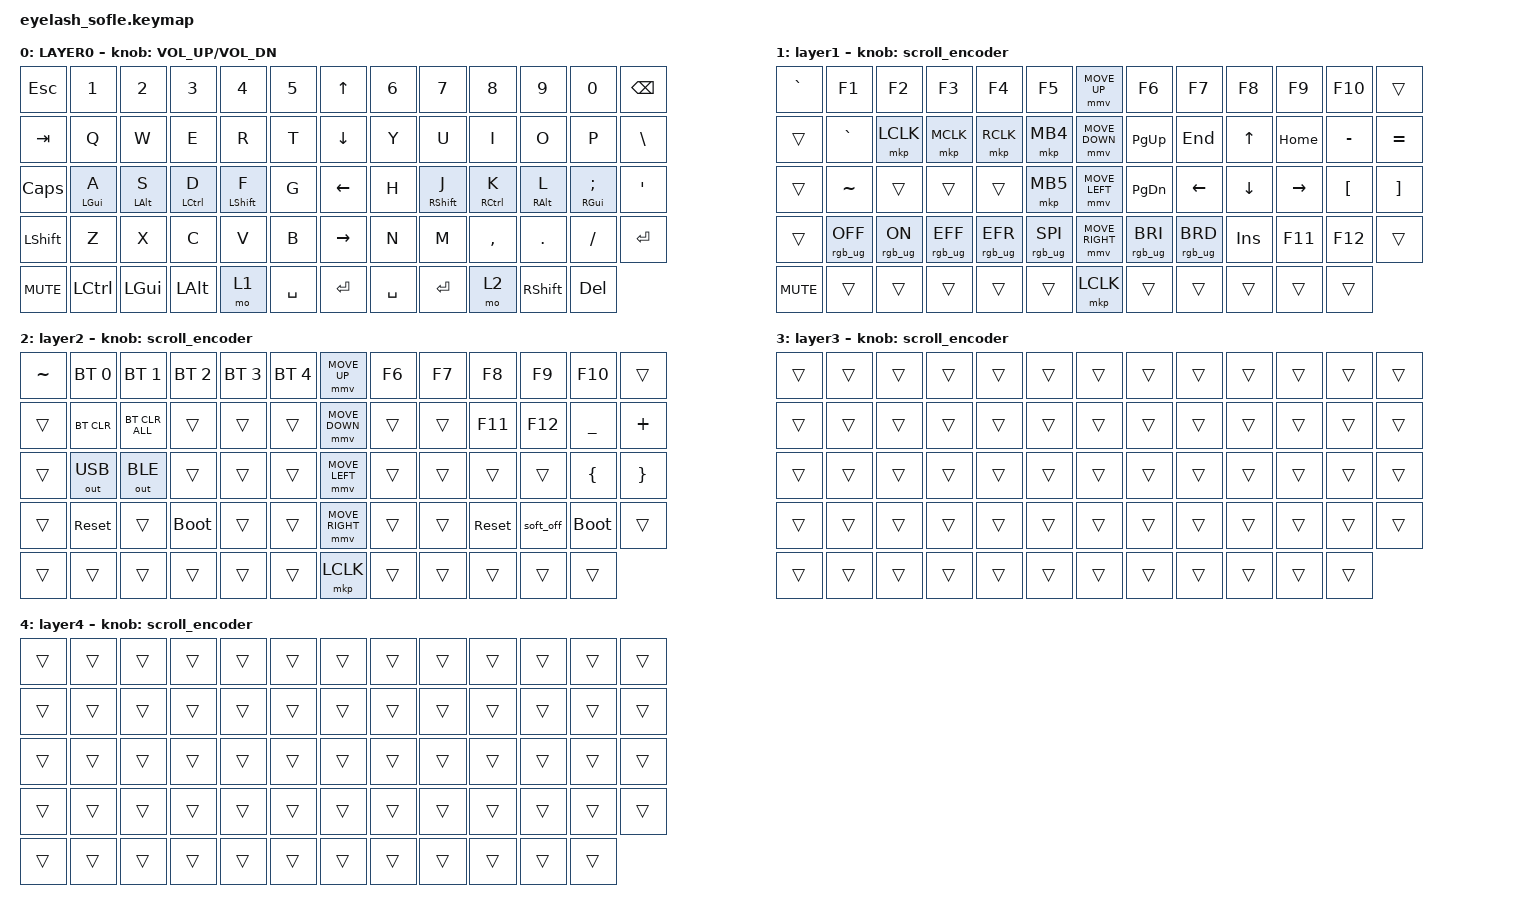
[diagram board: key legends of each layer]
#define ZMK_POINTING_DEFAULT_MOVE_VAL 1200  // 600
#define ZMK_POINTING_DEFAULT_SCRL_VAL 25   // 10

#include <input/processors.dtsi>
#include <zephyr/dt-bindings/input/input-event-codes.h>
#include <behaviors.dtsi>
#include <dt-bindings/zmk/bt.h>
#include <dt-bindings/zmk/keys.h>
#include <dt-bindings/zmk/outputs.h>
#include <dt-bindings/zmk/pointing.h>
#include <dt-bindings/zmk/rgb.h>

&mmv_input_listener { input-processors = <&zip_xy_scaler 2 1>; };

&msc_input_listener { input-processors = <&zip_scroll_scaler 2 1>; };

&msc {
    acceleration-exponent = <1>;      // 0
    time-to-max-speed-ms = <100>;       // 300
    delay-ms = <0>;                   // 0
};

&mmv {
    time-to-max-speed-ms = <500>;
    acceleration-exponent = <1>;
    trigger-period-ms = <16>;
};

&soft_off { hold-time-ms = <2000>; };

/ {
    scroll_encoder: scroll_encoder {
        compatible = "zmk,behavior-sensor-rotate";
        #sensor-binding-cells = <0>;
        bindings = <&msc SCRL_DOWN>, <&msc SCRL_UP>;

        tap-ms = <100>;
    };

    behaviors {
        hml: home_row_mod_left {
            compatible = "zmk,behavior-hold-tap";
            #binding-cells = <2>;
            flavor = "balanced";
            require-prior-idle-ms = <150>;
            tapping-term-ms = <280>;
            quick-tap-ms = <175>;
            bindings = <&kp>, <&kp>;
            hold-trigger-key-positions =  <29 30 31 32 33 34 35 36 37 38 39 40 41 42 43 44 45 46 47 48 49 50 51 52 53 54 55 56 57>;
            hold-trigger-on-release;
        };
        hmr: home_row_mod_right {
            compatible = "zmk,behavior-hold-tap";
            #binding-cells = <2>;
            flavor = "balanced";
            require-prior-idle-ms = <150>;
            tapping-term-ms = <280>;
            quick-tap-ms = <175>;
            bindings = <&kp>, <&kp>;
            hold-trigger-key-positions = <0 1 2 3 4 5 6 7 8 9 10 11 12 13 14 15 16 17 18 19 20 21 22 23 24 25 26 27 28>;
            hold-trigger-on-release;
        };
    };

    combos {
        compatible = "zmk,combos";

        softoff {
            bindings = <&soft_off>;
            key-positions = <14 28 40>;
        };
    };

    macros {
        SHIFT_MCLK: SHIFT_MCLK {
            compatible = "zmk,behavior-macro";
            #binding-cells = <0>;
            bindings =
                <&macro_press>,
                <&kp LEFT_SHIFT>,
                <&macro_press>,
                <&mkp MB3>,
                <&macro_pause_for_release>,
                <&macro_release>,
                <&kp LEFT_SHIFT &mkp MB3>;

            label = "SHIFT_MCLK";
        };
    };

    keymap {
        compatible = "zmk,keymap";

        layer0 {
            bindings = <
&kp ESC     &kp N1     &kp N2        &kp N3        &kp N4  &kp N5       &kp UP_ARROW     &kp N6     &kp N7     &kp N8     &kp N9           &kp N0      &kp BACKSPACE
&kp TAB     &kp Q      &kp W         &kp E         &kp R   &kp T        &kp DOWN_ARROW   &kp Y      &kp U      &kp I      &kp O            &kp P       &kp BSLH
&kp CAPS    &hml LGUI A &hml LALT S  &hml LCTRL D  &hml LSHFT F &kp G        &kp LEFT_ARROW   &kp H &hmr RSHFT J   &hmr RCTRL K   &hmr RALT L    &hmr RGUI SEMI  &kp APOS
&kp LSHFT   &kp Z      &kp X         &kp C         &kp V   &kp B        &kp RIGHT_ARROW  &kp N      &kp M      &kp COMMA  &kp DOT          &kp FSLH    &kp ENTER
&kp C_MUTE  &kp LCTRL  &kp LEFT_GUI  &kp LEFT_ALT  &mo 1   &kp SPACE    &kp ENTER        &kp SPACE  &kp ENTER  &mo 2      &kp RIGHT_SHIFT  &kp DELETE
            >;

            sensor-bindings = <&inc_dec_kp C_VOLUME_UP C_VOL_DN>;
            display-name = "LAYER0";
        };

        layer_1 {
            bindings = <
&kp GRAVE   &kp F1           &kp F2          &kp F3           &kp F4           &kp F5             &mmv MOVE_UP     &kp F6           &kp F7           &kp F8      &kp F9     &kp F10           &trans
&trans      &kp GRAVE        &mkp LCLK       &mkp MCLK        &mkp RCLK        &mkp MB4           &mmv MOVE_DOWN   &kp PG_UP        &kp END          &kp UP      &kp HOME   &kp MINUS         &kp EQUAL
&trans      &kp TILDE        &trans          &trans           &trans           &mkp MB5           &mmv MOVE_LEFT   &kp PG_DN        &kp LEFT         &kp DOWN    &kp RIGHT  &kp LEFT_BRACKET  &kp RIGHT_BRACKET
&trans      &rgb_ug RGB_OFF  &rgb_ug RGB_ON  &rgb_ug RGB_EFF  &rgb_ug RGB_EFR  &rgb_ug RGB_SPI    &mmv MOVE_RIGHT  &rgb_ug RGB_BRI  &rgb_ug RGB_BRD  &kp INSERT  &kp F11    &kp F12           &trans
&kp C_MUTE  &trans           &trans          &trans           &trans           &trans             &mkp LCLK        &trans           &trans           &trans      &trans     &trans
            >;

            display-name = "layer1";
            sensor-bindings = <&scroll_encoder>;
        };

        layer_2 {
            bindings = <
&kp TILDE  &bt BT_SEL 0  &bt BT_SEL 1    &bt BT_SEL 2  &bt BT_SEL 3  &bt BT_SEL 4    &mmv MOVE_UP     &kp F6  &kp F7  &kp F8      &kp F9     &kp F10      &trans
&trans     &bt BT_CLR    &bt BT_CLR_ALL  &trans        &trans        &trans          &mmv MOVE_DOWN   &trans  &trans  &kp F11     &kp F12    &kp UNDER    &kp PLUS
&trans     &out OUT_USB  &out OUT_BLE    &trans        &trans        &trans          &mmv MOVE_LEFT   &trans  &trans  &trans      &trans     &kp LBRC     &kp RBRC
&trans     &sys_reset    &trans          &bootloader   &trans        &trans          &mmv MOVE_RIGHT  &trans  &trans  &sys_reset  &soft_off  &bootloader  &trans
&trans     &trans        &trans          &trans        &trans        &trans          &mkp LCLK        &trans  &trans  &trans      &trans     &trans
            >;

            display-name = "layer2";
            sensor-bindings = <&scroll_encoder>;
        };

        layer_3 {
            bindings = <
&trans  &trans  &trans  &trans  &trans  &trans    &trans  &trans  &trans  &trans  &trans  &trans  &trans
&trans  &trans  &trans  &trans  &trans  &trans    &trans  &trans  &trans  &trans  &trans  &trans  &trans
&trans  &trans  &trans  &trans  &trans  &trans    &trans  &trans  &trans  &trans  &trans  &trans  &trans
&trans  &trans  &trans  &trans  &trans  &trans    &trans  &trans  &trans  &trans  &trans  &trans  &trans
&trans  &trans  &trans  &trans  &trans  &trans    &trans  &trans  &trans  &trans  &trans  &trans
            >;

            display-name = "layer3";
            sensor-bindings = <&scroll_encoder>;
        };

        layer_4 {
            bindings = <
&trans  &trans  &trans  &trans  &trans  &trans    &trans  &trans  &trans  &trans  &trans  &trans  &trans
&trans  &trans  &trans  &trans  &trans  &trans    &trans  &trans  &trans  &trans  &trans  &trans  &trans
&trans  &trans  &trans  &trans  &trans  &trans    &trans  &trans  &trans  &trans  &trans  &trans  &trans
&trans  &trans  &trans  &trans  &trans  &trans    &trans  &trans  &trans  &trans  &trans  &trans  &trans
&trans  &trans  &trans  &trans  &trans  &trans    &trans  &trans  &trans  &trans  &trans  &trans
            >;

            display-name = "layer4";
            sensor-bindings = <&scroll_encoder>;
        };
    };
};


